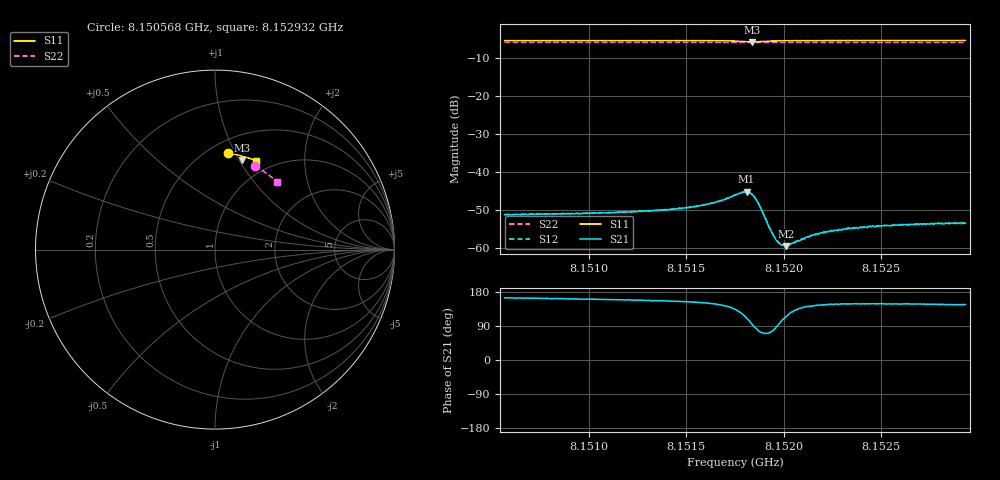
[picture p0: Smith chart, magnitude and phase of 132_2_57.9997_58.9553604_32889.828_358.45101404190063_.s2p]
#  HZ  S  RI  R  50.00
! Rohde & Schwarz Vector Network Analyzer
! Rohde-Schwarz,ZNB20-2Port,1311601062101988,3.16
! Created: UTC 3/21/2024, 12:56:10 AM
! freq[Hz]  re:S11  im:S11  re:S21  im:S21  re:S12  im:S12  re:S22  im:S22
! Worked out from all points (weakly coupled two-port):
!   401 points, 8.150568 GHz to 8.152932 GHz, reference 50 ohm
!   highest |S21| = -45.27 dB at 8.151809 GHz (marker M1); lowest = -59.6 dB at 8.15201 GHz (marker M2)
!   lowest |S11| = -5.6 dB at 8.151839 GHz (marker M3), VSWR 3.19, Z = 37.5 + j51.6 ohm
!   |S11| at or under -10 dB: nowhere
!   |S22| runs from -5.8 to -5.8 dB; largest |S21 - S12| = 0.00011
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8.150568e9  0.072 0.5369  -0.0026 0.000739  -0.00266 0.000794  0.2226 0.4642
8.150964e9  0.1001 0.533  -0.00266 0.000942  -0.00266 0.000981  0.2452 0.4521
8.15136e9  0.1283 0.5273  -0.00287 0.00122  -0.00287 0.0013  0.267 0.439
8.1515137e9  0.14 0.5241  -0.00301 0.00151  -0.00304 0.00157  0.2754 0.4336
8.1516024e9  0.1472 0.5214  -0.00321 0.00183  -0.00321 0.00189  0.28 0.4303
8.1516792e9  0.1539 0.5178  -0.0034 0.00238  -0.00343 0.00246  0.2841 0.4274
8.1517501e9  0.1598 0.5113  -0.00342 0.00354  -0.00339 0.00361  0.2879 0.4246
8.1518092e9  0.1583 0.5013  -0.00195 0.00509  -0.00191 0.00513  0.2905 0.4222
8.1518388e9  0.1525 0.4998  -0.000319 0.005  -0.00027 0.00503  0.2919 0.4211
8.1518565e9  0.1492 0.5017  0.000477 0.00434  0.000545 0.00437  0.2926 0.4206
8.1518742e9  0.1476 0.5048  0.000907 0.00353  0.000949 0.00356  0.2936 0.4202
8.1519274e9  0.1511 0.5128  0.000537 0.00172  0.000582 0.00172  0.2963 0.4186
8.151957e9  0.1544 0.5148  0.000143 0.00131  0.000158 0.00133  0.298 0.4174
8.1519688e9  0.1559 0.5152  -2.14e-05 0.00119  9.92e-06 0.00121  0.2986 0.4168
8.1519865e9  0.158 0.5156  -0.000223 0.00108  -0.000191 0.00109  0.2997 0.4165
8.1520102e9  0.1605 0.5159  -0.000421 0.000959  -0.000434 0.00102  0.3008 0.4155
8.1520397e9  0.1635 0.5159  -0.000667 0.000903  -0.000636 0.000939  0.3023 0.4143
8.1521461e9  0.1729 0.5146  -0.00115 0.000897  -0.00117 0.000878  0.308 0.41
8.1522289e9  0.1793 0.5129  -0.00135 0.000896  -0.00137 0.00094  0.3121 0.4069
8.1523234e9  0.1863 0.511  -0.00149 0.000952  -0.00149 0.00094  0.3166 0.403
8.1525421e9  0.2015 0.5059  -0.00166 0.00104  -0.00162 0.00105  0.3277 0.3939
8.1529322e9  0.2274 0.4955  -0.00176 0.00117  -0.00175 0.0012  0.3459 0.3771
